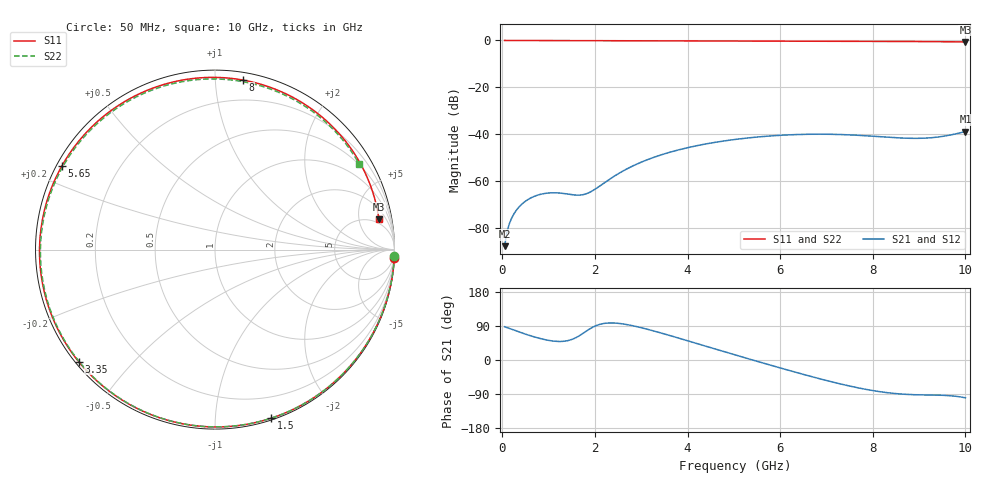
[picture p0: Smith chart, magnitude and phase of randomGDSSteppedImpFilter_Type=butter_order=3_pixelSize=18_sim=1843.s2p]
! freq	dB(S11)	phase(S11)	dB(S12)	phase(S12)
!  dB(S21)	phase(S21)	dB(S22)	phase(S22)
!S-par simulation data
#  GHz  S  DB  R 50
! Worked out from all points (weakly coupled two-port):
!   200 points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, 50 MHz to 10 GHz, reference 50 ohm
!   highest |S21| = -38.93 dB at 10 GHz (marker M1); lowest = -87.9 dB at 50 MHz (marker M2)
!   lowest |S11| = -0.6 dB at 10 GHz (marker M3), VSWR 27.08, Z = 190 + j468 ohm
!   |S11| at or under -10 dB: nowhere
!   |S22| runs from -0.6 to 0.0 dB; largest |S21 - S12| = 0
!   S11 on the Smith chart (normalised r, x): 50 MHz: 0, -45; 1.5 GHz: 0.01, -1.39; 3.35 GHz: 0.01, -0.36; 5.65 GHz: 0.01, +0.26; 8 GHz: 0.05, +1.18; 10 GHz: 4, +9
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0.05  -0.00 -2.5  -87.91 87.8  -87.91 87.8  -0.00 -2.0
0.1  -0.00 -5.1  -81.92 85.6  -81.92 85.6  -0.00 -4.0
0.25  -0.01 -12.6  -74.14 78.9  -74.14 78.9  -0.01 -10.0
0.35  -0.02 -17.6  -71.40 74.5  -71.40 74.5  -0.02 -14.0
0.65  -0.04 -32.4  -66.97 62.4  -66.97 62.4  -0.03 -25.8
1.05  -0.06 -51.4  -65.11 50.8  -65.11 50.8  -0.05 -41.2
1.5  -0.09 -71.6  -65.89 54.2  -65.89 54.2  -0.07 -58.1
1.75  -0.10 -82.2  -65.87 70.9  -65.87 70.9  -0.08 -67.1
1.95  -0.10 -90.4  -64.22 86.3  -64.22 86.3  -0.09 -74.2
2.45  -0.12 -109.6  -57.60 97.4  -57.60 97.4  -0.11 -91.3
3.35  -0.15 -140.6  -49.41 73.9  -49.41 73.9  -0.14 -119.8
3.4  -0.15 -142.2  -49.08 72.2  -49.08 72.2  -0.14 -121.3
4.2  -0.18 -166.8  -44.97 43.5  -44.97 43.5  -0.18 -144.8
5.05  -0.21 168.5  -42.24 12.7  -42.24 12.7  -0.22 -168.9
5.65  -0.24 151.3  -41.02 -8.7  -41.02 -8.7  -0.25 174.3
6.15  -0.27 137.0  -40.38 -26.1  -40.38 -26.1  -0.28 160.0
6.7  -0.30 120.9  -40.06 -44.5  -40.06 -44.5  -0.32 143.9
7.35  -0.34 101.2  -40.23 -64.6  -40.23 -64.6  -0.37 124.1
8  -0.38 80.7  -40.92 -80.7  -40.92 -80.7  -0.41 103.0
8.35  -0.40 69.3  -41.38 -86.8  -41.38 -86.8  -0.44 91.2
9.15  -0.48 41.9  -41.72 -92.3  -41.72 -92.3  -0.50 62.7
10  -0.64 10.5  -38.93 -99.8  -38.93 -99.8  -0.59 30.7
